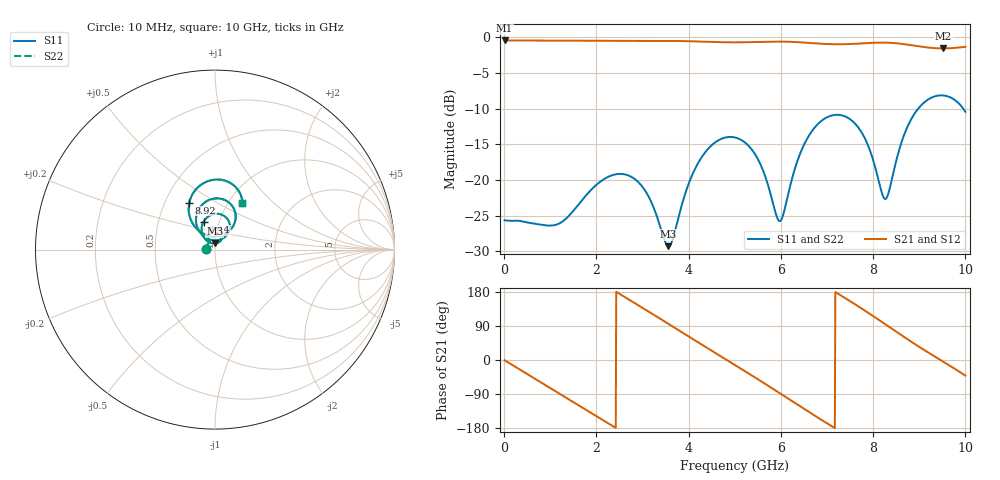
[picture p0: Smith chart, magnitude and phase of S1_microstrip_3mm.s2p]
! kicad_em_sim: S-parameters of 2 ports, openEMS
# Hz S RI R 50
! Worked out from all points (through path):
!   1000 points, 10 MHz to 10 GHz, reference 50 ohm
!   highest |S21| = -0.48 dB at 10 MHz (marker M1); lowest = -1.6 dB at 9.52 GHz (marker M2)
!   group delay of S21, straight-line fit = 212 ps
!   lowest |S11| = -29.3 dB at 3.56 GHz (marker M3), VSWR 1.07, Z = 49.8 + j3.43 ohm
!   |S11| at or under -10 dB: start of sweep to 8.979 GHz; 9.950818 GHz to end of sweep
!   |S22| runs from -29.3 to -8.2 dB; largest |S21 - S12| = 2.3e-07
!   S11 on the Smith chart (normalised r, x): 10 MHz: 0.90, +0.00; 4.44 GHz: 0.84, +0.27; 8.92 GHz: 0.66, +0.38; 10 GHz: 1.16, +0.66
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1e7  -0.0522 0.000775  0.9462 -0.0123  0.9462 -0.0123  -0.0522 0.000775
4.4e8  -0.0424 0.0282  0.7969 -0.509  0.7969 -0.509  -0.0424 0.0282
9.2e8  -0.028 0.0391  0.3527 -0.8765  0.3527 -0.8765  -0.028 0.0391
1.68e9  -0.0376 0.0611  -0.5322 -0.7776  -0.5322 -0.7776  -0.0376 0.0611
2.11e9  -0.0263 0.0952  -0.8608 -0.3781  -0.8608 -0.3781  -0.0263 0.0952
2.5e9  0.00805 0.11  -0.9344 0.0854  -0.9344 0.0854  0.00805 0.11
3.34e9  0.0271 0.0447  -0.3538 0.8699  -0.3538 0.8699  0.0271 0.0447
3.56e9  -0.000974 0.0344  -0.0904 0.9348  -0.0904 0.9348  -0.000974 0.0344
3.97e9  -0.06 0.0651  0.404 0.8437  0.404 0.8437  -0.06 0.0651
4.44e9  -0.064 0.155  0.8101 0.4474  0.8101 0.4474  -0.064 0.155
5.01e9  0.037 0.1947  0.8921 -0.2169  0.8921 -0.2169  0.037 0.1947
5.49e9  0.0822 0.1159  0.5953 -0.7069  0.5953 -0.7069  0.0822 0.1159
5.98e9  -0.00158 0.0516  0.0321 -0.9289  0.0321 -0.9289  -0.00158 0.0516
6.67e9  -0.1027 0.1934  -0.7147 -0.5579  -0.7147 -0.5579  -0.1027 0.1934
7.07e9  -0.0253 0.2794  -0.8837 -0.1189  -0.8837 -0.1189  -0.0253 0.2794
7.48e9  0.0862 0.2547  -0.8206 0.3517  -0.8206 0.3517  0.0862 0.2547
7.96e9  0.0933 0.1191  -0.444 0.7949  -0.444 0.7949  0.0933 0.1191
8.22e9  0.0152 0.0748  -0.1248 0.9057  -0.1248 0.9057  0.0152 0.0748
8.34e9  -0.0305 0.0767  0.0339 0.9114  0.0339 0.9114  -0.0305 0.0767
8.92e9  -0.1431 0.2617  0.6571 0.5658  0.6571 0.5658  -0.1431 0.2617
9.52e9  0.0367 0.3886  0.8302 -0.0635  0.8302 -0.0635  0.0367 0.3886
1e10  0.153 0.2577  0.6419 -0.5632  0.6419 -0.5632  0.153 0.2577
